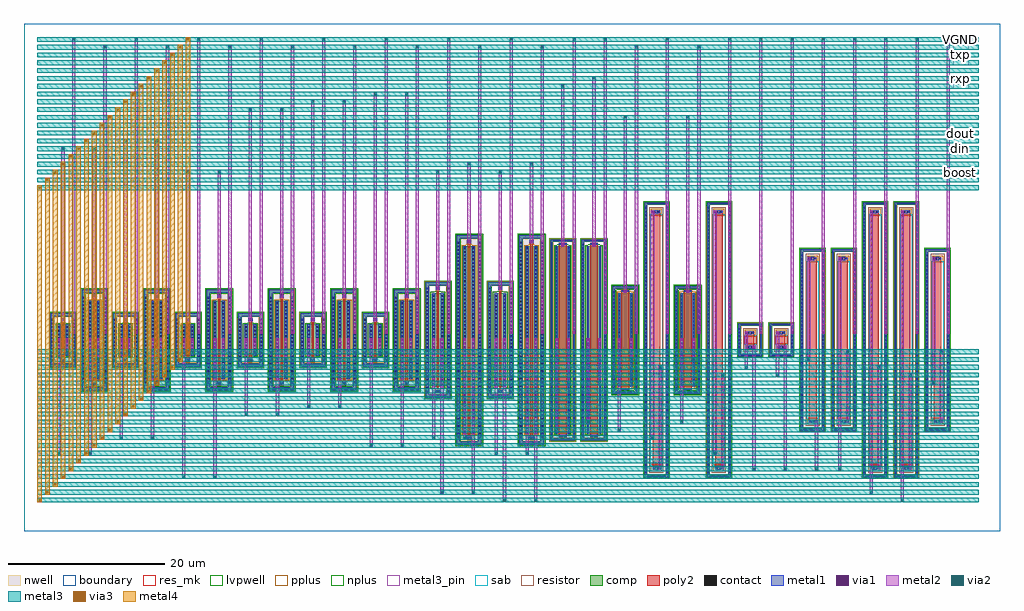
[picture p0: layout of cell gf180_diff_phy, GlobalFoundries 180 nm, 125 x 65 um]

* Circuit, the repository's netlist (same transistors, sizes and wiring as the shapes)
* NGSPICE file created from gf180_diff_phy.ext - technology: gf180mcuD

.subckt nfet_03v3_w24_l1 G D B S
X0 S G D B nfet_03v3 ad=10.56p pd=48.88u as=10.56p ps=48.88u w=24u l=1u
.ends

.subckt ppolyf_u_1k_w1_l32 B P N
X0 P N B ppolyf_u_1k r_width=1u r_length=32u
.ends

.subckt ppolyf_u_1k_w1_l1 B P N
X0 P N B ppolyf_u_1k r_width=1u r_length=1u
.ends

.subckt pfet_03v3_w10_l0p28 G D B S
X0 S G D B pfet_03v3 ad=6.55p pd=21.31u as=6.55p ps=21.31u w=10u l=0.28u
.ends

.subckt nfet_03v3_w4_l0p28 G D B S
X0 S G D B nfet_03v3 ad=2.62p pd=9.31u as=2.62p ps=9.31u w=4u l=0.28u
.ends

.subckt ppolyf_u_1k_w1_l20 B P N
X0 P N B ppolyf_u_1k r_width=1u r_length=20u
.ends

.subckt nfet_03v3_w12_l0p28 G D B S
X0 S G D B nfet_03v3 ad=7.86p pd=25.31u as=7.86p ps=25.31u w=12u l=0.28u
.ends

.subckt pfet_03v3_w24_l0p28 G D B S
X0 S G D B pfet_03v3 ad=15.72p pd=49.31u as=15.72p ps=49.31u w=24u l=0.28u
.ends

.subckt pfet_03v3_w12_l1 G D B S
X0 S G D B pfet_03v3 ad=5.28p pd=24.88u as=5.28p ps=24.88u w=12u l=1u
.ends

.subckt gf180_diff_phy din boost rxp rxn txp txn dout VDPWR VGND
Xxn1 rxn xp2/G VGND xrt/P nfet_03v3_w24_l1
Xxrn2 VGND xrn2/P txn ppolyf_u_1k_w1_l32
Xxrbn VGND txn xrc2/P ppolyf_u_1k_w1_l1
Xxn2 rxp xp2/D VGND xrt/P nfet_03v3_w24_l1
Xxout_xp xout_xp/G dout VDPWR VDPWR pfet_03v3_w10_l0p28
Xxib_xn boost xtp_xp/G VGND VGND nfet_03v3_w4_l0p28
Xxi0_xn din xrn/P VGND VGND nfet_03v3_w4_l0p28
Xxrbp VGND txp xrc2/P ppolyf_u_1k_w1_l1
Xxib_xp boost xtp_xp/G VDPWR VDPWR pfet_03v3_w10_l0p28
Xxi0_xp din xrn/P VDPWR VDPWR pfet_03v3_w10_l0p28
Xxbuf_xn xis_xp/D xout_xp/G VGND VGND nfet_03v3_w4_l0p28
Xxbuf_xp xis_xp/D xout_xp/G VDPWR VDPWR pfet_03v3_w10_l0p28
Xxrc1 VGND VDPWR xrc2/P ppolyf_u_1k_w1_l20
Xxrc2 VGND xrc2/P VGND ppolyf_u_1k_w1_l20
Xxtp_xn boost xrp/P VGND xrp2/P nfet_03v3_w12_l0p28
Xxi1_xn xrn/P xrp/P VGND VGND nfet_03v3_w4_l0p28
Xxtp_xp xtp_xp/G xrp/P VDPWR xrp2/P pfet_03v3_w24_l0p28
Xxi1_xp xrn/P xrp/P VDPWR VDPWR pfet_03v3_w10_l0p28
Xxrn VGND xrn/P txn ppolyf_u_1k_w1_l32
Xxrp VGND xrp/P txp ppolyf_u_1k_w1_l32
Xxrt VGND xrt/P VGND ppolyf_u_1k_w1_l20
Xxtn_xn boost xrn/P VGND xrn2/P nfet_03v3_w12_l0p28
Xxtn_xp xtp_xp/G xrn/P VDPWR xrn2/P pfet_03v3_w24_l0p28
Xxis_xn xp2/D xis_xp/D VGND VGND nfet_03v3_w4_l0p28
Xxis_xp xp2/D xis_xp/D VDPWR VDPWR pfet_03v3_w10_l0p28
Xxp1 xp2/G xp2/G VDPWR VDPWR pfet_03v3_w12_l1
Xxrp2 VGND xrp2/P txp ppolyf_u_1k_w1_l32
Xxp2 xp2/G xp2/D VDPWR VDPWR pfet_03v3_w12_l1
Xxout_xn xout_xp/G dout VGND VGND nfet_03v3_w4_l0p28
.ends

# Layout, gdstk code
import gdstk
lib = gdstk.Library(unit=1e-6, precision=1e-09)
def R(c, l, rs):  # rectangles x0, y0, x1, y1
    for r in rs: c.add(gdstk.rectangle(r[:2], r[2:], *l))
def A(c, l, x, y, w, h, nx, ny, dx, dy):  # array of equal rectangles
    R(c, l, [(x+i*dx, y+j*dy, x+i*dx+w, y+j*dy+h) for i in range(nx) for j in range(ny)])
boundary = (0, 0)
nwell = (21, 0)
comp = (22, 0)
poly2 = (30, 0)
pplus = (31, 0)
nplus = (32, 0)
contact = (33, 0)
metal1 = (34, 0)
via1 = (35, 0)
metal2 = (36, 0)
via2 = (38, 0)
via3 = (40, 0)
metal3 = (42, 0)
metal3_pin = (42, 10)
metal4 = (46, 0)
sab = (49, 0)
resistor = (62, 0)
res_mk = (110, 5)
lvpwell = (204, 0)

nfet_03v3_w4_l0p28 = lib.new_cell('nfet_03v3_w4_l0p28')
R(nfet_03v3_w4_l0p28, boundary, [(-1.38,-3.22,1.38,3.22)])
R(nfet_03v3_w4_l0p28, comp, [(-1.635,-3.475,1.635,-2.965), (-1.635,-2.965,-1.125,2.965), (1.125,-2.965,1.635,2.965), (-0.795,-2,0.795,2), (-1.635,2.965,1.635,3.475)])
R(nfet_03v3_w4_l0p28, poly2, [(-0.255,-2.855,0.255,-2.345), (-0.14,-2.345,0.14,2.345), (-0.255,2.345,0.255,2.855)])
R(nfet_03v3_w4_l0p28, pplus, [(-1.655,-3.495,1.655,-2.945), (-1.655,-2.945,-1.095,-2.82), (1.095,-2.945,1.655,-2.82), (-1.665,-2.82,-1.095,2.82), (1.095,-2.82,1.665,2.82), (-1.655,2.82,-1.095,2.945), (1.095,2.82,1.655,2.945), (-1.655,2.945,1.655,3.495)])
R(nfet_03v3_w4_l0p28, nplus, [(-0.37,-2.23,0.37,-2.16), (-0.955,-2.16,0.955,2.16), (-0.37,2.16,0.37,2.23)])
A(nfet_03v3_w4_l0p28, contact, -1.49, -2.695, 0.22, 0.22, 1, 12, 0, 0.47)
A(nfet_03v3_w4_l0p28, contact, 1.27, -2.695, 0.22, 0.22, 1, 12, 0, 0.47)
A(nfet_03v3_w4_l0p28, contact, -0.65, -1.755, 0.22, 0.22, 1, 8, 0, 0.47)
A(nfet_03v3_w4_l0p28, contact, 0.43, -1.755, 0.22, 0.22, 1, 8, 0, 0.47)
R(nfet_03v3_w4_l0p28, contact, [(-0.11,-2.71,0.11,-2.49), (-0.11,2.49,0.11,2.71)])
R(nfet_03v3_w4_l0p28, metal1, [(-1.57,-3.41,1.57,-3.03), (-1.57,-3.03,-1.19,3.03), (1.19,-3.03,1.57,3.03), (-0.265,-2.79,0.265,-2.41), (-0.73,-2.01,-0.35,2.01), (0.35,-2.01,0.73,2.01), (-0.265,2.41,0.265,2.79), (-1.57,3.03,1.57,3.41)])
R(nfet_03v3_w4_l0p28, lvpwell, [(-1.755,-3.595,1.755,3.595)])
nfet_03v3_w4_l0p28.add(gdstk.Label('D', (-0.54,0), layer=22, texttype=0))
nfet_03v3_w4_l0p28.add(gdstk.Label('S', (0.54,0), layer=22, texttype=0))
nfet_03v3_w4_l0p28.add(gdstk.Label('G', (0,2.6), layer=30, texttype=10))
nfet_03v3_w4_l0p28.add(gdstk.Label('B', (-1.38,0), layer=22, texttype=0))

pfet_03v3_w10_l0p28 = lib.new_cell('pfet_03v3_w10_l0p28')
R(pfet_03v3_w10_l0p28, boundary, [(-1.38,-6.22,1.38,6.22)])
R(pfet_03v3_w10_l0p28, nwell, [(-1.755,-6.595,1.755,6.595)])
R(pfet_03v3_w10_l0p28, comp, [(-1.635,-6.475,1.635,-5.965), (-1.635,-5.965,-1.125,5.965), (1.125,-5.965,1.635,5.965), (-0.795,-5,0.795,5), (-1.635,5.965,1.635,6.475)])
R(pfet_03v3_w10_l0p28, poly2, [(-0.255,-5.855,0.255,-5.345), (-0.14,-5.345,0.14,5.345), (-0.255,5.345,0.255,5.855)])
R(pfet_03v3_w10_l0p28, pplus, [(-0.37,-5.23,0.37,-5.16), (-0.955,-5.16,0.955,5.16), (-0.37,5.16,0.37,5.23)])
R(pfet_03v3_w10_l0p28, nplus, [(-1.795,-6.635,1.795,-5.945), (-1.795,-5.945,-1.095,5.945), (1.095,-5.945,1.795,5.945), (-1.795,5.945,1.795,6.635)])
A(pfet_03v3_w10_l0p28, contact, -1.49, -5.515, 0.22, 0.22, 1, 24, 0, 0.47)
A(pfet_03v3_w10_l0p28, contact, 1.27, -5.515, 0.22, 0.22, 1, 24, 0, 0.47)
A(pfet_03v3_w10_l0p28, contact, -0.65, -4.81, 0.22, 0.22, 1, 21, 0, 0.47)
A(pfet_03v3_w10_l0p28, contact, 0.43, -4.81, 0.22, 0.22, 1, 21, 0, 0.47)
R(pfet_03v3_w10_l0p28, contact, [(-0.11,-5.71,0.11,-5.49), (-0.11,5.49,0.11,5.71)])
R(pfet_03v3_w10_l0p28, metal1, [(-1.57,-6.41,1.57,-6.03), (-1.57,-6.03,-1.19,6.03), (1.19,-6.03,1.57,6.03), (-0.265,-5.79,0.265,-5.41), (-0.73,-5.01,-0.35,5.01), (0.35,-5.01,0.73,5.01), (-0.265,5.41,0.265,5.79), (-1.57,6.03,1.57,6.41)])
pfet_03v3_w10_l0p28.add(gdstk.Label('D', (-0.54,0), layer=22, texttype=0))
pfet_03v3_w10_l0p28.add(gdstk.Label('S', (0.54,0), layer=22, texttype=0))
pfet_03v3_w10_l0p28.add(gdstk.Label('G', (0,5.6), layer=30, texttype=10))
pfet_03v3_w10_l0p28.add(gdstk.Label('B', (-1.38,0), layer=22, texttype=0))

nfet_03v3_w12_l0p28 = lib.new_cell('nfet_03v3_w12_l0p28')
R(nfet_03v3_w12_l0p28, boundary, [(-1.38,-7.22,1.38,7.22)])
R(nfet_03v3_w12_l0p28, comp, [(-1.635,-7.475,1.635,-6.965), (-1.635,-6.965,-1.125,6.965), (1.125,-6.965,1.635,6.965), (-0.795,-6,0.795,6), (-1.635,6.965,1.635,7.475)])
R(nfet_03v3_w12_l0p28, poly2, [(-0.255,-6.855,0.255,-6.345), (-0.14,-6.345,0.14,6.345), (-0.255,6.345,0.255,6.855)])
R(nfet_03v3_w12_l0p28, pplus, [(-1.655,-7.495,1.655,-6.945), (-1.655,-6.945,-1.095,-6.82), (1.095,-6.945,1.655,-6.82), (-1.665,-6.82,-1.095,6.82), (1.095,-6.82,1.665,6.82), (-1.655,6.82,-1.095,6.945), (1.095,6.82,1.655,6.945), (-1.655,6.945,1.655,7.495)])
R(nfet_03v3_w12_l0p28, nplus, [(-0.37,-6.23,0.37,-6.16), (-0.955,-6.16,0.955,6.16), (-0.37,6.16,0.37,6.23)])
A(nfet_03v3_w12_l0p28, contact, -1.49, -6.69, 0.22, 0.22, 1, 29, 0, 0.47)
A(nfet_03v3_w12_l0p28, contact, 1.27, -6.69, 0.22, 0.22, 1, 29, 0, 0.47)
A(nfet_03v3_w12_l0p28, contact, -0.65, -5.75, 0.22, 0.22, 1, 25, 0, 0.47)
A(nfet_03v3_w12_l0p28, contact, 0.43, -5.75, 0.22, 0.22, 1, 25, 0, 0.47)
R(nfet_03v3_w12_l0p28, contact, [(-0.11,-6.71,0.11,-6.49), (-0.11,6.49,0.11,6.71)])
R(nfet_03v3_w12_l0p28, metal1, [(-1.57,-7.41,1.57,-7.03), (-1.57,-7.03,-1.19,7.03), (1.19,-7.03,1.57,7.03), (-0.265,-6.79,0.265,-6.41), (-0.73,-6.01,-0.35,6.01), (0.35,-6.01,0.73,6.01), (-0.265,6.41,0.265,6.79), (-1.57,7.03,1.57,7.41)])
R(nfet_03v3_w12_l0p28, lvpwell, [(-1.755,-7.595,1.755,7.595)])
nfet_03v3_w12_l0p28.add(gdstk.Label('D', (-0.54,0), layer=22, texttype=0))
nfet_03v3_w12_l0p28.add(gdstk.Label('S', (0.54,0), layer=22, texttype=0))
nfet_03v3_w12_l0p28.add(gdstk.Label('G', (0,6.6), layer=30, texttype=10))
nfet_03v3_w12_l0p28.add(gdstk.Label('B', (-1.38,0), layer=22, texttype=0))

pfet_03v3_w24_l0p28 = lib.new_cell('pfet_03v3_w24_l0p28')
R(pfet_03v3_w24_l0p28, boundary, [(-1.38,-13.22,1.38,13.22)])
R(pfet_03v3_w24_l0p28, nwell, [(-1.755,-13.595,1.755,13.595)])
R(pfet_03v3_w24_l0p28, comp, [(-1.635,-13.475,1.635,-12.965), (-1.635,-12.965,-1.125,12.965), (1.125,-12.965,1.635,12.965), (-0.795,-12,0.795,12), (-1.635,12.965,1.635,13.475)])
R(pfet_03v3_w24_l0p28, poly2, [(-0.255,-12.855,0.255,-12.345), (-0.14,-12.345,0.14,12.345), (-0.255,12.345,0.255,12.855)])
R(pfet_03v3_w24_l0p28, pplus, [(-0.37,-12.23,0.37,-12.16), (-0.955,-12.16,0.955,12.16), (-0.37,12.16,0.37,12.23)])
R(pfet_03v3_w24_l0p28, nplus, [(-1.795,-13.635,1.795,-12.945), (-1.795,-12.945,-1.095,12.945), (1.095,-12.945,1.795,12.945), (-1.795,12.945,1.795,13.635)])
A(pfet_03v3_w24_l0p28, contact, -1.49, -12.565, 0.22, 0.22, 1, 54, 0, 0.47)
A(pfet_03v3_w24_l0p28, contact, 1.27, -12.565, 0.22, 0.22, 1, 54, 0, 0.47)
A(pfet_03v3_w24_l0p28, contact, -0.65, -11.86, 0.22, 0.22, 1, 51, 0, 0.47)
A(pfet_03v3_w24_l0p28, contact, 0.43, -11.86, 0.22, 0.22, 1, 51, 0, 0.47)
R(pfet_03v3_w24_l0p28, contact, [(-0.11,-12.71,0.11,-12.49), (-0.11,12.49,0.11,12.71)])
R(pfet_03v3_w24_l0p28, metal1, [(-1.57,-13.41,1.57,-13.03), (-1.57,-13.03,-1.19,13.03), (1.19,-13.03,1.57,13.03), (-0.265,-12.79,0.265,-12.41), (-0.73,-12.01,-0.35,12.01), (0.35,-12.01,0.73,12.01), (-0.265,12.41,0.265,12.79), (-1.57,13.03,1.57,13.41)])
pfet_03v3_w24_l0p28.add(gdstk.Label('D', (-0.54,0), layer=22, texttype=0))
pfet_03v3_w24_l0p28.add(gdstk.Label('S', (0.54,0), layer=22, texttype=0))
pfet_03v3_w24_l0p28.add(gdstk.Label('G', (0,12.6), layer=30, texttype=10))
pfet_03v3_w24_l0p28.add(gdstk.Label('B', (-1.38,0), layer=22, texttype=0))

nfet_03v3_w24_l1 = lib.new_cell('nfet_03v3_w24_l1')
R(nfet_03v3_w24_l1, boundary, [(-1.45,-12.75,1.45,12.75)])
R(nfet_03v3_w24_l1, comp, [(-1.63,-12.93,1.63,-12.57), (-1.63,-12.57,-1.27,12.57), (1.27,-12.57,1.63,12.57), (-0.94,-12,0.94,12), (-1.63,12.57,1.63,12.93)])
R(nfet_03v3_w24_l1, poly2, [(-0.5,-12.46,0.5,12.46)])
R(nfet_03v3_w24_l1, pplus, [(-1.65,-12.95,1.65,-12.55), (-1.65,-12.55,-1.24,-12.445), (1.24,-12.55,1.65,-12.445), (-1.66,-12.445,-1.24,12.445), (1.24,-12.445,1.66,12.445), (-1.65,12.445,-1.24,12.55), (1.24,12.445,1.65,12.55), (-1.65,12.55,1.65,12.95)])
R(nfet_03v3_w24_l1, nplus, [(-0.73,-12.23,0.73,-12.16), (-1.1,-12.16,1.1,12.16), (-0.73,12.16,0.73,12.23)])
A(nfet_03v3_w24_l1, contact, -1.56, -12.33, 0.22, 0.22, 1, 53, 0, 0.47)
A(nfet_03v3_w24_l1, contact, 1.34, -12.33, 0.22, 0.22, 1, 53, 0, 0.47)
A(nfet_03v3_w24_l1, contact, -0.87, -11.86, 0.22, 0.22, 1, 51, 0, 0.47)
A(nfet_03v3_w24_l1, contact, 0.65, -11.86, 0.22, 0.22, 1, 51, 0, 0.47)
R(nfet_03v3_w24_l1, contact, [(-0.345,-12.39,-0.125,-12.17), (0.125,-12.39,0.345,-12.17), (-0.345,12.17,-0.125,12.39), (0.125,12.17,0.345,12.39)])
R(nfet_03v3_w24_l1, metal1, [(-1.565,-12.865,1.565,-12.635), (-1.565,-12.635,-1.335,12.635), (1.335,-12.635,1.565,12.635), (-0.49,-12.395,0.49,-12.165), (-0.875,-11.99,-0.645,11.99), (0.645,-11.99,0.875,11.99), (-0.49,12.165,0.49,12.395), (-1.565,12.635,1.565,12.865)])
R(nfet_03v3_w24_l1, lvpwell, [(-1.75,-13.05,1.75,13.05)])
nfet_03v3_w24_l1.add(gdstk.Label('D', (-0.76,0), layer=22, texttype=0))
nfet_03v3_w24_l1.add(gdstk.Label('S', (0.76,0), layer=22, texttype=0))
nfet_03v3_w24_l1.add(gdstk.Label('G', (0,12.28), layer=30, texttype=10))
nfet_03v3_w24_l1.add(gdstk.Label('B', (-1.45,0), layer=22, texttype=0))

pfet_03v3_w12_l1 = lib.new_cell('pfet_03v3_w12_l1')
R(pfet_03v3_w12_l1, boundary, [(-1.45,-6.75,1.45,6.75)])
R(pfet_03v3_w12_l1, nwell, [(-1.75,-7.05,1.75,7.05)])
R(pfet_03v3_w12_l1, comp, [(-1.63,-6.93,1.63,-6.57), (-1.63,-6.57,-1.27,6.57), (1.27,-6.57,1.63,6.57), (-0.94,-6,0.94,6), (-1.63,6.57,1.63,6.93)])
R(pfet_03v3_w12_l1, poly2, [(-0.5,-6.46,0.5,6.46)])
R(pfet_03v3_w12_l1, pplus, [(-0.73,-6.23,0.73,-6.16), (-1.1,-6.16,1.1,6.16), (-0.73,6.16,0.73,6.23)])
R(pfet_03v3_w12_l1, nplus, [(-1.79,-7.09,1.79,-6.46), (-1.79,-6.46,-1.16,6.46), (1.16,-6.46,1.79,6.46), (-1.79,6.46,1.79,7.09)])
A(pfet_03v3_w12_l1, contact, -1.56, -6.22, 0.22, 0.22, 1, 27, 0, 0.47)
A(pfet_03v3_w12_l1, contact, 1.34, -6.22, 0.22, 0.22, 1, 27, 0, 0.47)
A(pfet_03v3_w12_l1, contact, -0.87, -5.75, 0.22, 0.22, 1, 25, 0, 0.47)
A(pfet_03v3_w12_l1, contact, 0.65, -5.75, 0.22, 0.22, 1, 25, 0, 0.47)
R(pfet_03v3_w12_l1, contact, [(-0.345,-6.39,-0.125,-6.17), (0.125,-6.39,0.345,-6.17), (-0.345,6.17,-0.125,6.39), (0.125,6.17,0.345,6.39)])
R(pfet_03v3_w12_l1, metal1, [(-1.565,-6.865,1.565,-6.635), (-1.565,-6.635,-1.335,6.635), (1.335,-6.635,1.565,6.635), (-0.49,-6.395,0.49,-6.165), (-0.875,-5.99,-0.645,5.99), (0.645,-5.99,0.875,5.99), (-0.49,6.165,0.49,6.395), (-1.565,6.635,1.565,6.865)])
pfet_03v3_w12_l1.add(gdstk.Label('D', (-0.76,0), layer=22, texttype=0))
pfet_03v3_w12_l1.add(gdstk.Label('S', (0.76,0), layer=22, texttype=0))
pfet_03v3_w12_l1.add(gdstk.Label('G', (0,6.28), layer=30, texttype=10))
pfet_03v3_w12_l1.add(gdstk.Label('B', (-1.45,0), layer=22, texttype=0))

ppolyf_u_1k_w1_l32 = lib.new_cell('ppolyf_u_1k_w1_l32')
R(ppolyf_u_1k_w1_l32, boundary, [(-1.38,-17.49,1.38,17.49)])
R(ppolyf_u_1k_w1_l32, comp, [(-1.56,-17.67,1.56,-17.31), (-1.56,-17.31,-1.2,17.31), (1.2,-17.31,1.56,17.31), (-1.56,17.31,1.56,17.67)])
R(ppolyf_u_1k_w1_l32, poly2, [(-0.5,-16.61,0.5,16.61)])
R(ppolyf_u_1k_w1_l32, pplus, [(-1.58,-17.69,1.58,-17.29), (-1.58,-17.29,-1.17,-17.185), (1.17,-17.29,1.58,-17.185), (-1.59,-17.185,-1.17,17.185), (1.17,-17.185,1.59,17.185), (-0.7,-16.81,0.7,-16), (-0.7,16,0.7,16.81), (-1.58,17.185,-1.17,17.29), (1.17,17.185,1.58,17.29), (-1.58,17.29,1.58,17.69)])
A(ppolyf_u_1k_w1_l32, contact, -1.49, -17.03, 0.22, 0.22, 1, 73, 0, 0.47)
A(ppolyf_u_1k_w1_l32, contact, 1.27, -17.03, 0.22, 0.22, 1, 73, 0, 0.47)
R(ppolyf_u_1k_w1_l32, contact, [(-0.345,-16.54,-0.125,-16.32), (0.125,-16.54,0.345,-16.32), (-0.345,16.32,-0.125,16.54), (0.125,16.32,0.345,16.54)])
R(ppolyf_u_1k_w1_l32, metal1, [(-1.495,-17.605,1.495,-17.375), (-1.495,-17.375,-1.265,17.375), (1.265,-17.375,1.495,17.375), (-0.49,-16.545,0.49,-16.315), (-0.49,16.315,0.49,16.545), (-1.495,17.375,1.495,17.605)])
R(ppolyf_u_1k_w1_l32, sab, [(-0.78,-16.1,0.78,16.1), (-0.78,-16,0.78,16)])
R(ppolyf_u_1k_w1_l32, resistor, [(-0.9,-17.01,0.9,17.01)])
R(ppolyf_u_1k_w1_l32, res_mk, [(-0.78,-16,0.78,16), (-0.5,-16,0.5,16)])
R(ppolyf_u_1k_w1_l32, lvpwell, [(-1.68,-17.79,1.68,17.79)])
ppolyf_u_1k_w1_l32.add(gdstk.Label('P', (0,16.43), layer=30, texttype=10))
ppolyf_u_1k_w1_l32.add(gdstk.Label('N', (0,-16.43), layer=30, texttype=10))
ppolyf_u_1k_w1_l32.add(gdstk.Label('B', (-1.38,0), layer=22, texttype=0))

ppolyf_u_1k_w1_l1 = lib.new_cell('ppolyf_u_1k_w1_l1')
R(ppolyf_u_1k_w1_l1, boundary, [(-1.38,-1.99,1.38,1.99)])
R(ppolyf_u_1k_w1_l1, comp, [(-1.56,-2.17,1.56,-1.81), (-1.56,-1.81,-1.2,1.81), (1.2,-1.81,1.56,1.81), (-1.56,1.81,1.56,2.17)])
R(ppolyf_u_1k_w1_l1, poly2, [(-0.5,-1.11,0.5,1.11)])
R(ppolyf_u_1k_w1_l1, pplus, [(-1.58,-2.19,1.58,-1.79), (-1.58,-1.79,-1.17,-1.685), (1.17,-1.79,1.58,-1.685), (-1.59,-1.685,-1.17,1.685), (1.17,-1.685,1.59,1.685), (-0.7,-1.31,0.7,-0.5), (-0.7,0.5,0.7,1.31), (-1.58,1.685,-1.17,1.79), (1.17,1.685,1.58,1.79), (-1.58,1.79,1.58,2.19)])
A(ppolyf_u_1k_w1_l1, contact, -1.49, -1.52, 0.22, 0.22, 1, 7, 0, 0.47)
A(ppolyf_u_1k_w1_l1, contact, 1.27, -1.52, 0.22, 0.22, 1, 7, 0, 0.47)
R(ppolyf_u_1k_w1_l1, contact, [(-0.345,-1.04,-0.125,-0.82), (0.125,-1.04,0.345,-0.82), (-0.345,0.82,-0.125,1.04), (0.125,0.82,0.345,1.04)])
R(ppolyf_u_1k_w1_l1, metal1, [(-1.495,-2.105,1.495,-1.875), (-1.495,-1.875,-1.265,1.875), (1.265,-1.875,1.495,1.875), (-0.49,-1.045,0.49,-0.815), (-0.49,0.815,0.49,1.045), (-1.495,1.875,1.495,2.105)])
R(ppolyf_u_1k_w1_l1, sab, [(-0.9,-0.6,0.9,0.6), (-0.78,-0.6,0.78,0.6)])
R(ppolyf_u_1k_w1_l1, resistor, [(-0.9,-1.51,0.9,1.51)])
R(ppolyf_u_1k_w1_l1, res_mk, [(-0.78,-0.5,0.78,0.5), (-0.5,-0.5,0.5,0.5)])
R(ppolyf_u_1k_w1_l1, lvpwell, [(-1.68,-2.29,1.68,2.29)])
ppolyf_u_1k_w1_l1.add(gdstk.Label('P', (0,0.93), layer=30, texttype=10))
ppolyf_u_1k_w1_l1.add(gdstk.Label('N', (0,-0.93), layer=30, texttype=10))
ppolyf_u_1k_w1_l1.add(gdstk.Label('B', (-1.38,0), layer=22, texttype=0))

ppolyf_u_1k_w1_l20 = lib.new_cell('ppolyf_u_1k_w1_l20')
R(ppolyf_u_1k_w1_l20, boundary, [(-1.38,-11.49,1.38,11.49)])
R(ppolyf_u_1k_w1_l20, comp, [(-1.56,-11.67,1.56,-11.31), (-1.56,-11.31,-1.2,11.31), (1.2,-11.31,1.56,11.31), (-1.56,11.31,1.56,11.67)])
R(ppolyf_u_1k_w1_l20, poly2, [(-0.5,-10.61,0.5,10.61)])
R(ppolyf_u_1k_w1_l20, pplus, [(-1.58,-11.69,1.58,-11.29), (-1.58,-11.29,-1.17,-11.185), (1.17,-11.29,1.58,-11.185), (-1.59,-11.185,-1.17,11.185), (1.17,-11.185,1.59,11.185), (-0.7,-10.81,0.7,-10), (-0.7,10,0.7,10.81), (-1.58,11.185,-1.17,11.29), (1.17,11.185,1.58,11.29), (-1.58,11.29,1.58,11.69)])
A(ppolyf_u_1k_w1_l20, contact, -1.49, -10.92, 0.22, 0.22, 1, 47, 0, 0.47)
A(ppolyf_u_1k_w1_l20, contact, 1.27, -10.92, 0.22, 0.22, 1, 47, 0, 0.47)
R(ppolyf_u_1k_w1_l20, contact, [(-0.345,-10.54,-0.125,-10.32), (0.125,-10.54,0.345,-10.32), (-0.345,10.32,-0.125,10.54), (0.125,10.32,0.345,10.54)])
R(ppolyf_u_1k_w1_l20, metal1, [(-1.495,-11.605,1.495,-11.375), (-1.495,-11.375,-1.265,11.375), (1.265,-11.375,1.495,11.375), (-0.49,-10.545,0.49,-10.315), (-0.49,10.315,0.49,10.545), (-1.495,11.375,1.495,11.605)])
R(ppolyf_u_1k_w1_l20, sab, [(-0.78,-10.1,0.78,10.1), (-0.78,-10,0.78,10)])
R(ppolyf_u_1k_w1_l20, resistor, [(-0.9,-11.01,0.9,11.01)])
R(ppolyf_u_1k_w1_l20, res_mk, [(-0.78,-10,0.78,10), (-0.5,-10,0.5,10)])
R(ppolyf_u_1k_w1_l20, lvpwell, [(-1.68,-11.79,1.68,11.79)])
ppolyf_u_1k_w1_l20.add(gdstk.Label('P', (0,10.43), layer=30, texttype=10))
ppolyf_u_1k_w1_l20.add(gdstk.Label('N', (0,-10.43), layer=30, texttype=10))
ppolyf_u_1k_w1_l20.add(gdstk.Label('B', (-1.38,0), layer=22, texttype=0))

gf180_diff_phy = lib.new_cell('gf180_diff_phy')
R(gf180_diff_phy, boundary, [(0,0,125,65)])
A(gf180_diff_phy, metal1, 6.18, 25.3, 0.4, 0.4, 16, 1, 4, 0)
A(gf180_diff_phy, metal1, 70.25, 25.3, 0.4, 0.4, 3, 1, 4, 0)
A(gf180_diff_phy, metal1, 90.18, 25.3, 0.4, 0.4, 8, 1, 4, 0)
A(gf180_diff_phy, metal1, 4.8, 26.9, 0.4, 0.4, 6, 1, 8, 0)
A(gf180_diff_phy, metal1, 8.8, 29.9, 0.4, 0.4, 6, 1, 8, 0)
R(gf180_diff_phy, metal1, [(80.8,7.87,81.7,8.27), (88.8,7.87,89.7,8.27), (108.8,7.87,109.7,8.27), (112.8,7.87,113.7,8.27), (100.8,13.87,101.7,14.27), (104.8,13.87,105.7,14.27), (116.8,13.87,117.7,14.27), (92.8,23.37,93.7,23.77), (96.8,23.37,97.7,23.77), (4.26,24.3,4.66,24.7), (5.34,24.3,5.74,24.7), (8.26,24.3,8.66,24.7), (9.34,24.3,9.74,24.7), (12.26,24.3,12.66,24.7), (13.34,24.3,13.74,24.7), (16.26,24.3,16.66,24.7), (17.34,24.3,17.74,24.7), (20.26,24.3,20.66,24.7), (21.34,24.3,21.74,24.7), (24.26,24.3,24.66,24.7), (25.34,24.3,25.74,24.7), (28.26,24.3,28.66,24.7), (29.34,24.3,29.74,24.7), (32.26,24.3,32.66,24.7), (33.34,24.3,33.74,24.7), (36.26,24.3,36.66,24.7), (37.34,24.3,37.74,24.7), (40.26,24.3,40.66,24.7), (41.34,24.3,41.74,24.7), (44.26,24.3,44.66,24.7), (45.34,24.3,45.74,24.7), (48.26,24.3,48.66,24.7), (49.34,24.3,49.74,24.7), (52.26,24.3,52.66,24.7), (53.34,24.3,53.74,24.7), (56.26,24.3,56.66,24.7), (57.34,24.3,57.74,24.7), (60.26,24.3,60.66,24.7), (61.34,24.3,61.74,24.7), (64.26,24.3,64.66,24.7), (65.34,24.3,65.74,24.7), (68.04,24.3,68.44,24.7), (69.56,24.3,69.96,24.7), (72.04,24.3,72.44,24.7), (73.56,24.3,73.96,24.7), (76.04,24.3,76.44,24.7), (77.56,24.3,77.96,24.7), (84.04,24.3,84.44,24.7), (85.56,24.3,85.96,24.7), (92.3,25.23,93.2,25.63), (96.3,25.23,97.2,25.63), (82.18,25.3,82.58,25.7), (86.25,25.3,86.65,25.7), (76.8,30.46,77.2,30.86), (84.8,30.46,85.2,30.86), (52.8,30.9,53.2,31.3), (60.8,30.9,61.2,31.3), (100.3,34.73,101.2,35.13), (104.3,34.73,105.2,35.13), (116.3,34.73,117.2,35.13), (68.8,36.46,69.2,36.86), (72.8,36.46,73.2,36.86), (56.8,36.9,57.2,37.3), (64.8,36.9,65.2,37.3), (80.3,40.73,81.2,41.13), (88.3,40.73,89.2,41.13), (108.3,40.73,109.2,41.13), (112.3,40.73,113.2,41.13)])
A(gf180_diff_phy, via1, 6.25, 25.37, 0.26, 0.26, 16, 1, 4, 0)
A(gf180_diff_phy, via1, 70.32, 25.37, 0.26, 0.26, 3, 1, 4, 0)
A(gf180_diff_phy, via1, 90.25, 25.37, 0.26, 0.26, 8, 1, 4, 0)
A(gf180_diff_phy, via1, 4.87, 26.97, 0.26, 0.26, 6, 1, 8, 0)
A(gf180_diff_phy, via1, 8.87, 29.97, 0.26, 0.26, 6, 1, 8, 0)
R(gf180_diff_phy, via1, [(81.37,7.94,81.63,8.2), (89.37,7.94,89.63,8.2), (109.37,7.94,109.63,8.2), (113.37,7.94,113.63,8.2), (101.37,13.94,101.63,14.2), (105.37,13.94,105.63,14.2), (117.37,13.94,117.63,14.2), (93.37,23.44,93.63,23.7), (97.37,23.44,97.63,23.7), (4.33,24.37,4.59,24.63), (5.41,24.37,5.67,24.63), (8.33,24.37,8.59,24.63), (9.41,24.37,9.67,24.63), (12.33,24.37,12.59,24.63), (13.41,24.37,13.67,24.63), (16.33,24.37,16.59,24.63), (17.41,24.37,17.67,24.63), (20.33,24.37,20.59,24.63), (21.41,24.37,21.67,24.63), (24.33,24.37,24.59,24.63), (25.41,24.37,25.67,24.63), (28.33,24.37,28.59,24.63), (29.41,24.37,29.67,24.63), (32.33,24.37,32.59,24.63), (33.41,24.37,33.67,24.63), (36.33,24.37,36.59,24.63), (37.41,24.37,37.67,24.63), (40.33,24.37,40.59,24.63), (41.41,24.37,41.67,24.63), (44.33,24.37,44.59,24.63), (45.41,24.37,45.67,24.63), (48.33,24.37,48.59,24.63), (49.41,24.37,49.67,24.63), (52.33,24.37,52.59,24.63), (53.41,24.37,53.67,24.63), (56.33,24.37,56.59,24.63), (57.41,24.37,57.67,24.63), (60.33,24.37,60.59,24.63), (61.41,24.37,61.67,24.63), (64.33,24.37,64.59,24.63), (65.41,24.37,65.67,24.63), (68.11,24.37,68.37,24.63), (69.63,24.37,69.89,24.63), (72.11,24.37,72.37,24.63), (73.63,24.37,73.89,24.63), (76.11,24.37,76.37,24.63), (77.63,24.37,77.89,24.63), (84.11,24.37,84.37,24.63), (85.63,24.37,85.89,24.63), (92.37,25.3,92.63,25.56), (96.37,25.3,96.63,25.56), (82.25,25.37,82.51,25.63), (86.32,25.37,86.58,25.63), (76.87,30.53,77.13,30.79), (84.87,30.53,85.13,30.79), (52.87,30.97,53.13,31.23), (60.87,30.97,61.13,31.23), (100.37,34.8,100.63,35.06), (104.37,34.8,104.63,35.06), (116.37,34.8,116.63,35.06), (68.87,36.53,69.13,36.79), (72.87,36.53,73.13,36.79), (56.87,36.97,57.13,37.23), (64.87,36.97,65.13,37.23), (80.37,40.8,80.63,41.06), (88.37,40.8,88.63,41.06), (108.37,40.8,108.63,41.06), (112.37,40.8,112.63,41.06)])
A(gf180_diff_phy, metal2, 9.34, 21.8, 0.4, 2.9, 6, 1, 8, 0)
A(gf180_diff_phy, metal2, 5.34, 22.8, 0.4, 1.9, 6, 1, 8, 0)
A(gf180_diff_phy, metal2, 6.18, 25.3, 0.4, 37.9, 8, 1, 8, 0)
A(gf180_diff_phy, metal2, 10.18, 25.3, 0.4, 36.9, 8, 1, 8, 0)
A(gf180_diff_phy, metal2, 90.18, 25.3, 0.4, 37.9, 8, 1, 4, 0)
R(gf180_diff_phy, metal2, [(61.34,3.8,61.74,24.7), (65.34,3.8,65.74,24.7), (112.3,3.8,112.7,41.13), (53.34,4.8,53.74,24.7), (57.34,4.8,57.74,24.7), (108.3,4.8,108.7,41.13), (20.26,6.8,20.66,24.7), (24.26,6.8,24.66,24.7), (93.3,7.8,93.7,23.77), (97.3,7.8,97.7,23.77), (101.3,7.8,101.7,14.27), (104.3,7.8,104.7,35.13), (81.3,7.87,81.7,21.2), (89.3,7.87,89.7,20.2), (109.3,7.87,109.7,21.2), (113.3,7.87,113.7,20.2), (4.26,9.8,4.66,24.7), (8.26,9.8,8.66,24.7), (60.26,9.8,60.66,24.7), (64.26,9.8,64.66,24.7), (88.3,9.8,88.7,41.13), (44.26,10.8,44.66,24.7), (48.26,10.8,48.66,24.7), (12.26,11.8,12.66,24.7), (16.26,11.8,16.66,24.7), (52.26,11.8,52.66,24.7), (56.26,11.8,56.66,24.7), (80.3,11.8,80.7,41.13), (68.04,12.8,68.44,24.7), (76.04,12.8,76.44,24.7), (72.04,13.8,72.44,24.7), (84.04,13.8,84.44,24.7), (105.3,13.87,105.7,23.2), (117.3,13.87,117.7,23.2), (28.26,14.8,28.66,24.7), (32.26,14.8,32.66,24.7), (36.26,15.8,36.66,24.7), (40.26,15.8,40.66,24.7), (69.56,18.8,69.96,24.7), (73.56,18.8,73.96,24.7), (116.3,18.8,116.7,35.13), (96.3,19.8,96.7,25.63), (92.3,20.8,92.7,25.63), (77.56,21.8,77.96,24.7), (85.56,21.8,85.96,24.7), (100.3,21.8,100.7,35.13), (70.25,25.3,70.65,63.2), (74.25,25.3,74.65,63.2), (78.25,25.3,78.65,62.2), (82.18,25.3,82.58,63.2), (86.25,25.3,86.65,62.2), (4.8,26.9,5.2,49.2), (12.8,26.9,13.2,50.2), (20.8,26.9,21.2,46.2), (28.8,26.9,29.2,54.2), (36.8,26.9,37.2,55.2), (44.8,26.9,45.2,56.2), (8.8,29.9,9.2,49.2), (16.8,29.9,17.2,50.2), (24.8,29.9,25.2,46.2), (32.8,29.9,33.2,54.2), (40.8,29.9,41.2,55.2), (48.8,29.9,49.2,56.2), (76.8,30.46,77.2,53.2), (84.8,30.46,85.2,53.2), (52.8,30.9,53.2,46.2), (60.8,30.9,61.2,46.2), (68.8,36.46,69.2,57.2), (72.8,36.46,73.2,58.2), (56.8,36.9,57.2,47.2), (64.8,36.9,65.2,47.2)])
A(gf180_diff_phy, via2, 93.37, 7.87, 0.26, 0.26, 3, 1, 4, 0)
A(gf180_diff_phy, via2, 9.41, 21.87, 0.26, 0.26, 6, 1, 8, 0)
A(gf180_diff_phy, via2, 5.41, 22.87, 0.26, 0.26, 6, 1, 8, 0)
A(gf180_diff_phy, via2, 10.25, 61.87, 0.26, 0.26, 8, 1, 8, 0)
A(gf180_diff_phy, via2, 6.25, 62.87, 0.26, 0.26, 8, 1, 8, 0)
A(gf180_diff_phy, via2, 90.25, 62.87, 0.26, 0.26, 8, 1, 4, 0)
R(gf180_diff_phy, via2, [(61.41,3.87,61.67,4.13), (65.41,3.87,65.67,4.13), (112.37,3.87,112.63,4.13), (53.41,4.87,53.67,5.13), (57.41,4.87,57.67,5.13), (108.37,4.87,108.63,5.13), (20.33,6.87,20.59,7.13), (24.33,6.87,24.59,7.13), (104.37,7.87,104.63,8.13), (4.33,9.87,4.59,10.13), (8.33,9.87,8.59,10.13), (60.33,9.87,60.59,10.13), (64.33,9.87,64.59,10.13), (88.37,9.87,88.63,10.13), (44.33,10.87,44.59,11.13), (48.33,10.87,48.59,11.13), (12.33,11.87,12.59,12.13), (16.33,11.87,16.59,12.13), (52.33,11.87,52.59,12.13), (56.33,11.87,56.59,12.13), (80.37,11.87,80.63,12.13), (68.11,12.87,68.37,13.13), (76.11,12.87,76.37,13.13), (72.11,13.87,72.37,14.13), (84.11,13.87,84.37,14.13), (28.33,14.87,28.59,15.13), (32.33,14.87,32.59,15.13), (36.33,15.87,36.59,16.13), (40.33,15.87,40.59,16.13), (69.63,18.87,69.89,19.13), (73.63,18.87,73.89,19.13), (116.37,18.87,116.63,19.13), (89.37,19.87,89.63,20.13), (96.37,19.87,96.63,20.13), (113.37,19.87,113.63,20.13), (81.37,20.87,81.63,21.13), (92.37,20.87,92.63,21.13), (109.37,20.87,109.63,21.13), (77.63,21.87,77.89,22.13), (85.63,21.87,85.89,22.13), (100.37,21.87,100.63,22.13), (105.37,22.87,105.63,23.13), (117.37,22.87,117.63,23.13), (20.87,45.87,21.13,46.13), (24.87,45.87,25.13,46.13), (52.87,45.87,53.13,46.13), (60.87,45.87,61.13,46.13), (56.87,46.87,57.13,47.13), (64.87,46.87,65.13,47.13), (4.87,48.87,5.13,49.13), (8.87,48.87,9.13,49.13), (12.87,49.87,13.13,50.13), (16.87,49.87,17.13,50.13), (76.87,52.87,77.13,53.13), (84.87,52.87,85.13,53.13), (28.87,53.87,29.13,54.13), (32.87,53.87,33.13,54.13), (36.87,54.87,37.13,55.13), (40.87,54.87,41.13,55.13), (44.87,55.87,45.13,56.13), (48.87,55.87,49.13,56.13), (68.87,56.87,69.13,57.13), (72.87,57.87,73.13,58.13), (78.32,61.87,78.58,62.13), (86.32,61.87,86.58,62.13), (70.32,62.87,70.58,63.13), (74.32,62.87,74.58,63.13), (82.25,62.87,82.51,63.13)])
R(gf180_diff_phy, via3, [(1.87,3.87,2.13,4.13), (2.87,4.87,3.13,5.13), (3.87,5.87,4.13,6.13), (4.87,6.87,5.13,7.13), (5.87,7.87,6.13,8.13), (6.87,8.87,7.13,9.13), (7.87,9.87,8.13,10.13), (8.87,10.87,9.13,11.13), (9.87,11.87,10.13,12.13), (10.87,12.87,11.13,13.13), (11.87,13.87,12.13,14.13), (12.87,14.87,13.13,15.13), (13.87,15.87,14.13,16.13), (14.87,16.87,15.13,17.13), (15.87,17.87,16.13,18.13), (16.87,18.87,17.13,19.13), (17.87,19.87,18.13,20.13), (18.87,20.87,19.13,21.13), (19.87,21.87,20.13,22.13), (20.87,22.87,21.13,23.13), (1.87,43.87,2.13,44.13), (2.87,44.87,3.13,45.13), (3.87,45.87,4.13,46.13), (4.87,46.87,5.13,47.13), (5.87,47.87,6.13,48.13), (6.87,48.87,7.13,49.13), (7.87,49.87,8.13,50.13), (8.87,50.87,9.13,51.13), (9.87,51.87,10.13,52.13), (10.87,52.87,11.13,53.13), (11.87,53.87,12.13,54.13), (12.87,54.87,13.13,55.13), (13.87,55.87,14.13,56.13), (14.87,56.87,15.13,57.13), (15.87,57.87,16.13,58.13), (16.87,58.87,17.13,59.13), (17.87,59.87,18.13,60.13), (18.87,60.87,19.13,61.13), (19.87,61.87,20.13,62.13), (20.87,62.87,21.13,63.13)])
A(gf180_diff_phy, metal3, 1.7, 3.7, 120.6, 0.6, 1, 20, 0, 1)
A(gf180_diff_phy, metal3, 1.7, 43.7, 120.6, 0.6, 1, 20, 0, 1)
A(gf180_diff_phy, metal3_pin, 119, 59.7, 2, 0.6, 1, 4, 0, 1)
R(gf180_diff_phy, metal3_pin, [(119,45.7,121,46.3), (119,48.7,121,49.3), (119,50.7,121,51.3), (119,56.7,121,57.3), (119,57.7,121,58.3)])
R(gf180_diff_phy, metal4, [(1.7,3.7,2.3,44.3), (2.7,4.7,3.3,45.3), (3.7,5.7,4.3,46.3), (4.7,6.7,5.3,47.3), (5.7,7.7,6.3,48.3), (6.7,8.7,7.3,49.3), (7.7,9.7,8.3,50.3), (8.7,10.7,9.3,51.3), (9.7,11.7,10.3,52.3), (10.7,12.7,11.3,53.3), (11.7,13.7,12.3,54.3), (12.7,14.7,13.3,55.3), (13.7,15.7,14.3,56.3), (14.7,16.7,15.3,57.3), (15.7,17.7,16.3,58.3), (16.7,18.7,17.3,59.3), (17.7,19.7,18.3,60.3), (18.7,20.7,19.3,61.3), (19.7,21.7,20.3,62.3), (20.7,22.7,21.3,63.3)])
gf180_diff_phy.add(gdstk.Reference(nfet_03v3_w4_l0p28, (5,24.5)))
gf180_diff_phy.add(gdstk.Reference(pfet_03v3_w10_l0p28, (9,24.5)))
gf180_diff_phy.add(gdstk.Reference(nfet_03v3_w4_l0p28, (13,24.5)))
gf180_diff_phy.add(gdstk.Reference(pfet_03v3_w10_l0p28, (17,24.5)))
gf180_diff_phy.add(gdstk.Reference(nfet_03v3_w4_l0p28, (21,24.5)))
gf180_diff_phy.add(gdstk.Reference(pfet_03v3_w10_l0p28, (25,24.5)))
gf180_diff_phy.add(gdstk.Reference(nfet_03v3_w4_l0p28, (29,24.5)))
gf180_diff_phy.add(gdstk.Reference(pfet_03v3_w10_l0p28, (33,24.5)))
gf180_diff_phy.add(gdstk.Reference(nfet_03v3_w4_l0p28, (37,24.5)))
gf180_diff_phy.add(gdstk.Reference(pfet_03v3_w10_l0p28, (41,24.5)))
gf180_diff_phy.add(gdstk.Reference(nfet_03v3_w4_l0p28, (45,24.5)))
gf180_diff_phy.add(gdstk.Reference(pfet_03v3_w10_l0p28, (49,24.5)))
gf180_diff_phy.add(gdstk.Reference(nfet_03v3_w12_l0p28, (53,24.5)))
gf180_diff_phy.add(gdstk.Reference(pfet_03v3_w24_l0p28, (57,24.5)))
gf180_diff_phy.add(gdstk.Reference(nfet_03v3_w12_l0p28, (61,24.5)))
gf180_diff_phy.add(gdstk.Reference(pfet_03v3_w24_l0p28, (65,24.5)))
gf180_diff_phy.add(gdstk.Reference(nfet_03v3_w24_l1, (69,24.5)))
gf180_diff_phy.add(gdstk.Reference(nfet_03v3_w24_l1, (73,24.5)))
gf180_diff_phy.add(gdstk.Reference(pfet_03v3_w12_l1, (77,24.5)))
gf180_diff_phy.add(gdstk.Reference(ppolyf_u_1k_w1_l32, (81,24.5)))
gf180_diff_phy.add(gdstk.Reference(pfet_03v3_w12_l1, (85,24.5)))
gf180_diff_phy.add(gdstk.Reference(ppolyf_u_1k_w1_l32, (89,24.5)))
gf180_diff_phy.add(gdstk.Reference(ppolyf_u_1k_w1_l1, (93,24.5)))
gf180_diff_phy.add(gdstk.Reference(ppolyf_u_1k_w1_l1, (97,24.5)))
gf180_diff_phy.add(gdstk.Reference(ppolyf_u_1k_w1_l20, (101,24.5)))
gf180_diff_phy.add(gdstk.Reference(ppolyf_u_1k_w1_l20, (105,24.5)))
gf180_diff_phy.add(gdstk.Reference(ppolyf_u_1k_w1_l32, (109,24.5)))
gf180_diff_phy.add(gdstk.Reference(ppolyf_u_1k_w1_l32, (113,24.5)))
gf180_diff_phy.add(gdstk.Reference(ppolyf_u_1k_w1_l20, (117,24.5)))
gf180_diff_phy.add(gdstk.Label('din', (120,49), layer=42, texttype=10))
gf180_diff_phy.add(gdstk.Label('boost', (120,46), layer=42, texttype=10))
gf180_diff_phy.add(gdstk.Label('rxp', (120,58), layer=42, texttype=10))
gf180_diff_phy.add(gdstk.Label('rxn', (120,57), layer=42, texttype=10))
gf180_diff_phy.add(gdstk.Label('txp', (120,61), layer=42, texttype=10))
gf180_diff_phy.add(gdstk.Label('txn', (120,60), layer=42, texttype=10))
gf180_diff_phy.add(gdstk.Label('dout', (120,51), layer=42, texttype=10))
gf180_diff_phy.add(gdstk.Label('VDPWR', (120,62), layer=42, texttype=10))
gf180_diff_phy.add(gdstk.Label('VGND', (120,63), layer=42, texttype=10))

lib.write_gds('gf180_diff_phy.gds')
